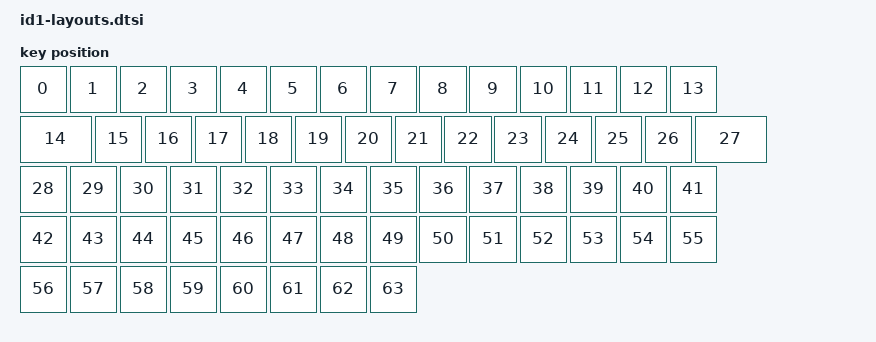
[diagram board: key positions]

#include <physical_layouts.dtsi>

/ {
    default_layout: default_layout {
        compatible = "zmk,physical-layout";
        display-name = "60% + Numpad";
        transform = <&main_transform>;
        kscan = <&kscan0>;

      
        // This is a placeholder for a standard 60% layout
        keys  //                     w   h    x    y     rot    rx    ry
            // Row 0 (top row)
            = <&key_physical_attrs 100 100    0    0       0     0     0>   // Key 0
            , <&key_physical_attrs 100 100  100    0       0     0     0>   // Key 1
            , <&key_physical_attrs 100 100  200    0       0     0     0>   // Key 2
            , <&key_physical_attrs 100 100  300    0       0     0     0>   // Key 3
            , <&key_physical_attrs 100 100  400    0       0     0     0>   // Key 4
            , <&key_physical_attrs 100 100  500    0       0     0     0>   // Key 5
            , <&key_physical_attrs 100 100  600    0       0     0     0>   // Key 6
            , <&key_physical_attrs 100 100  700    0       0     0     0>   // Key 7
            , <&key_physical_attrs 100 100  800    0       0     0     0>   // Key 8
            , <&key_physical_attrs 100 100  900    0       0     0     0>   // Key 9
            , <&key_physical_attrs 100 100 1000    0       0     0     0>   // Key 10
            , <&key_physical_attrs 100 100 1100    0       0     0     0>   // Key 11
            , <&key_physical_attrs 100 100 1200    0       0     0     0>   // Key 12
            , <&key_physical_attrs 100 100 1300    0       0     0     0>   // Key 13
            // Row 1
            , <&key_physical_attrs 150 100    0  100       0     0     0>   // Key 14 (Tab)
            , <&key_physical_attrs 100 100  150  100       0     0     0>   // Key 15
            , <&key_physical_attrs 100 100  250  100       0     0     0>   // Key 16
            , <&key_physical_attrs 100 100  350  100       0     0     0>   // Key 17
            , <&key_physical_attrs 100 100  450  100       0     0     0>   // Key 18
            , <&key_physical_attrs 100 100  550  100       0     0     0>   // Key 19
            , <&key_physical_attrs 100 100  650  100       0     0     0>   // Key 20
            , <&key_physical_attrs 100 100  750  100       0     0     0>   // Key 21
            , <&key_physical_attrs 100 100  850  100       0     0     0>   // Key 22
            , <&key_physical_attrs 100 100  950  100       0     0     0>   // Key 23
            , <&key_physical_attrs 100 100 1050  100       0     0     0>   // Key 24
            , <&key_physical_attrs 100 100 1150  100       0     0     0>   // Key 25
            , <&key_physical_attrs 100 100 1250  100       0     0     0>   // Key 26
            , <&key_physical_attrs 150 100 1350  100       0     0     0>   // Key 27 (Backspace)
            , <&key_physical_attrs 100 100    0  200       0     0     0>   // Key 28
            , <&key_physical_attrs 100 100  100  200       0     0     0>   // Key 29
            , <&key_physical_attrs 100 100  200  200       0     0     0>   // Key 30
            , <&key_physical_attrs 100 100  300  200       0     0     0>   // Key 31
            , <&key_physical_attrs 100 100  400  200       0     0     0>   // Key 32
            , <&key_physical_attrs 100 100  500  200       0     0     0>   // Key 33
            , <&key_physical_attrs 100 100  600  200       0     0     0>   // Key 34
            , <&key_physical_attrs 100 100  700  200       0     0     0>   // Key 35
            , <&key_physical_attrs 100 100  800  200       0     0     0>   // Key 36
            , <&key_physical_attrs 100 100  900  200       0     0     0>   // Key 37
            , <&key_physical_attrs 100 100 1000  200       0     0     0>   // Key 38
            , <&key_physical_attrs 100 100 1100  200       0     0     0>   // Key 39
            , <&key_physical_attrs 100 100 1200  200       0     0     0>   // Key 40
            , <&key_physical_attrs 100 100 1300  200       0     0     0>   // Key 41
            , <&key_physical_attrs 100 100    0  300       0     0     0>   // Key 42
            , <&key_physical_attrs 100 100  100  300       0     0     0>   // Key 43
            , <&key_physical_attrs 100 100  200  300       0     0     0>   // Key 44
            , <&key_physical_attrs 100 100  300  300       0     0     0>   // Key 45
            , <&key_physical_attrs 100 100  400  300       0     0     0>   // Key 46
            , <&key_physical_attrs 100 100  500  300       0     0     0>   // Key 47
            , <&key_physical_attrs 100 100  600  300       0     0     0>   // Key 48
            , <&key_physical_attrs 100 100  700  300       0     0     0>   // Key 49
            , <&key_physical_attrs 100 100  800  300       0     0     0>   // Key 50
            , <&key_physical_attrs 100 100  900  300       0     0     0>   // Key 51
            , <&key_physical_attrs 100 100 1000  300       0     0     0>   // Key 52
            , <&key_physical_attrs 100 100 1100  300       0     0     0>   // Key 53
            , <&key_physical_attrs 100 100 1200  300       0     0     0>   // Key 54
            , <&key_physical_attrs 100 100 1300  300       0     0     0>   // Key 55
            , <&key_physical_attrs 100 100    0  400       0     0     0>   // Key 56
            , <&key_physical_attrs 100 100  100  400       0     0     0>   // Key 57
            , <&key_physical_attrs 100 100  200  400       0     0     0>   // Key 58
            , <&key_physical_attrs 100 100  300  400       0     0     0>   // Key 59
            , <&key_physical_attrs 100 100  400  400       0     0     0>   // Key 60
            , <&key_physical_attrs 100 100  500  400       0     0     0>   // Key 61
            , <&key_physical_attrs 100 100  600  400       0     0     0>   // Key 62
            , <&key_physical_attrs 100 100  700  400       0     0     0>   // Key 63
            ;
    };
};
